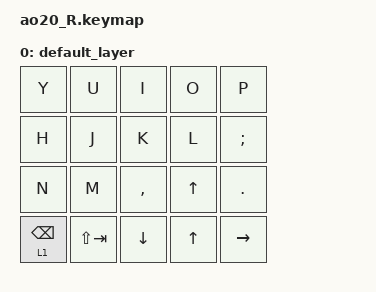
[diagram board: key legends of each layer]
#include <behaviors.dtsi>
#include <dt-bindings/zmk/keys.h>

/ {
    keymap {
        compatible = "zmk,keymap";

        default_layer {
            bindings = <
                &kp Y    &kp U    &kp I  &kp O     &kp P
                &kp H    &kp J    &kp K  &kp L     &kp SEMICOLON
                &kp N    &kp M    &kp COMMA  &kp UP_ARROW  &kp DOT
                &lt 1 BACKSPACE  &kp LS(TAB)  &kp DOWN   &kp UP    &kp RIGHT
            >;
        };
    };
};



